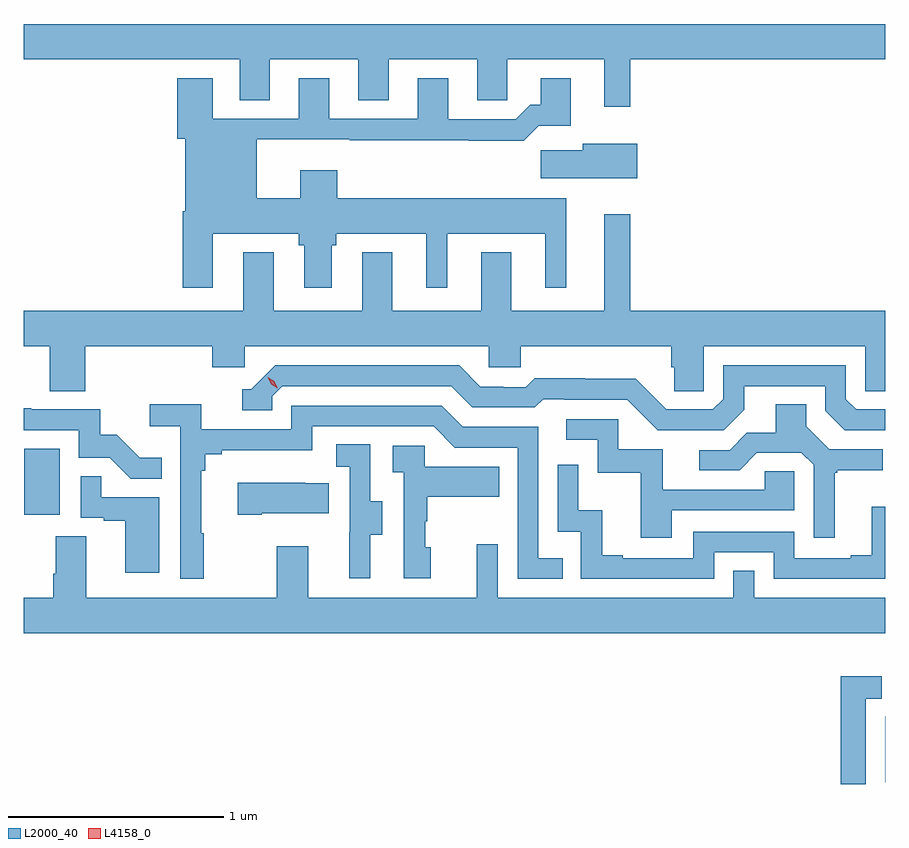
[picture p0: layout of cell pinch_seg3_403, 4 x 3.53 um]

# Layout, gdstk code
import gdstk
lib = gdstk.Library(unit=1e-6, precision=1e-09)
def R(c, l, rs):  # rectangles x0, y0, x1, y1
    for r in rs: c.add(gdstk.rectangle(r[:2], r[2:], *l))
def P(c, l, *ps):  # polygons
    for p in ps: c.add(gdstk.Polygon(p, *l))
L2000_40 = (2000, 40)
L4158_0 = (4158, 0)

pinch_seg3_403 = lib.new_cell('pinch_seg3_403')
R(pinch_seg3_403, L2000_40, [(912.794,704.22,912.795,704.527), (908.798,705.462,908.962,705.769)])
P(pinch_seg3_403, L2000_40, [(911.611,707.576),(912.795,707.576),(912.795,707.74),(908.795,707.74),(908.795,707.576),(909.797,707.576),(909.797,707.386),(909.937,707.386),(909.937,707.576),(910.349,707.576),(910.349,707.386),(910.489,707.386),(910.489,707.576),(910.901,707.576),(910.901,707.386),(911.04,707.386),(911.04,707.576),(911.489,707.576),(911.489,707.355),(911.611,707.355)],
  [(909.673,706.766),(910.072,706.766),(910.072,706.713),(910.097,706.713),(910.097,706.515),(910.225,706.515),(910.225,706.713),(910.245,706.713),(910.245,706.766),(910.664,706.766),(910.664,706.515),(910.762,706.515),(910.762,706.766),(911.216,706.766),(911.216,706.515),(911.314,706.515),(911.314,706.93),(910.25,706.93),(910.25,707.062),(910.079,707.062),(910.079,706.93),(909.877,706.93),(909.877,707.204),(910.309,707.204),(910.309,707.2),(910.861,707.2),(910.861,707.198),(911.117,707.198),(911.186,707.267),(911.335,707.267),(911.335,707.488),(911.195,707.488),(911.195,707.365),(911.146,707.365),(911.079,707.298),(910.765,707.298),(910.765,707.488),(910.625,707.488),(910.625,707.301),(910.213,707.301),(910.213,707.488),(910.073,707.488),(910.073,707.301),(909.673,707.301),(909.673,707.488),(909.509,707.488),(909.509,707.208),(909.545,707.208),(909.545,706.87),(909.533,706.87),(909.533,706.515),(909.673,706.515)],
  [(911.644,707.185),(911.39,707.185),(911.39,707.153),(911.196,707.153),(911.196,707.024),(911.644,707.024)],
  [(909.08,706.244),(909.671,706.244),(909.671,706.146),(909.822,706.146),(909.822,706.244),(910.953,706.244),(910.953,706.146),(911.103,706.146),(911.103,706.244),(911.801,706.244),(911.801,706.146),(911.815,706.146),(911.815,706.036),(911.952,706.036),(911.952,706.244),(912.702,706.244),(912.702,706.036),(912.795,706.036),(912.795,706.408),(911.611,706.408),(911.611,706.858),(911.489,706.858),(911.489,706.408),(911.059,706.408),(911.059,706.681),(910.919,706.681),(910.919,706.408),(910.507,706.408),(910.507,706.681),(910.367,706.681),(910.367,706.408),(909.955,706.408),(909.955,706.681),(909.815,706.681),(909.815,706.408),(908.795,706.408),(908.795,706.244),(908.915,706.244),(908.915,706.036),(909.08,706.036)],
  [(912.139,705.949),(912.139,706.059),(912.516,706.059),(912.516,705.945),(912.606,705.855),(912.795,705.855),(912.795,705.951),(912.66,705.951),(912.612,705.999),(912.612,706.155),(912.042,706.155),(912.042,705.999),(911.994,705.951),(911.778,705.951),(911.636,706.093),(911.4,706.093),(911.4,706.096),(911.167,706.096),(911.125,706.053),(911.022,706.053),(911.022,706.056),(910.915,706.056),(910.816,706.155),(909.963,706.155),(909.852,706.044),(909.809,706.044),(909.809,705.948),(909.948,705.948),(909.948,706.011),(909.996,706.059),(910.779,706.059),(910.878,705.96),(911.167,705.96),(911.206,705.999),(911.305,705.999),(911.305,705.996),(911.598,705.996),(911.739,705.855),(912.045,705.855)],
  [(909.631,705.377),(909.619,705.377),(909.619,705.665),(909.638,705.665),(909.638,705.742),(909.715,705.742),(909.715,705.761),(910.134,705.761),(910.134,705.873),(910.698,705.873),(910.797,705.774),(911.088,705.774),(911.088,705.165),(911.297,705.165),(911.297,705.261),(911.184,705.261),(911.184,705.87),(910.834,705.87),(910.735,705.969),(910.038,705.969),(910.038,705.858),(909.62,705.858),(909.62,705.974),(909.381,705.974),(909.381,705.872),(909.522,705.872),(909.522,705.165),(909.631,705.165)],
  [(912.559,705.657),(912.571,705.657),(912.571,705.668),(912.784,705.668),(912.784,705.765),(912.534,705.765),(912.427,705.872),(912.427,705.974),(912.287,705.974),(912.287,705.842),(912.152,705.842),(912.072,705.762),(911.931,705.762),(911.931,705.669),(912.118,705.669),(912.199,705.75),(912.405,705.75),(912.462,705.693),(912.462,705.354),(912.559,705.354)],
  [(909.437,705.727),(909.333,705.727),(909.226,705.834),(909.15,705.834),(909.15,705.951),(908.831,705.951),(908.831,705.956),(908.795,705.956),(908.795,705.855),(909.051,705.855),(909.051,705.726),(909.195,705.726),(909.293,705.628),(909.437,705.628)],
  [(911.803,705.483),(912.372,705.483),(912.372,705.663),(912.235,705.663),(912.235,705.579),(911.761,705.579),(911.761,705.765),(911.556,705.765),(911.556,705.906),(911.313,705.906),(911.313,705.81),(911.46,705.81),(911.46,705.657),(911.659,705.657),(911.659,705.354),(911.803,705.354)],
  [(910.405,705.37),(910.459,705.37),(910.459,705.525),(910.404,705.525),(910.404,705.788),(910.245,705.788),(910.245,705.685),(910.308,705.685),(910.308,705.381),(910.307,705.381),(910.307,705.168),(910.405,705.168)],
  [(910.684,705.312),(910.659,705.312),(910.659,705.431),(910.669,705.431),(910.669,705.545),(911.003,705.545),(911.003,705.685),(910.656,705.685),(910.656,705.783),(910.509,705.783),(910.509,705.659),(910.56,705.659),(910.56,705.168),(910.684,705.168)],
  [(912,705.288),(912.276,705.288),(912.276,705.165),(912.795,705.165),(912.795,705.499),(912.731,705.499),(912.731,705.274),(912.635,705.274),(912.635,705.261),(912.372,705.261),(912.372,705.384),(911.904,705.384),(911.904,705.261),(911.575,705.261),(911.575,705.274),(911.48,705.274),(911.48,705.482),(911.37,705.482),(911.37,705.694),(911.274,705.694),(911.274,705.384),(911.382,705.384),(911.382,705.165),(912,705.165)],
  [(909.424,705.543),(909.155,705.543),(909.155,705.641),(909.06,705.641),(909.06,705.447),(909.167,705.447),(909.167,705.435),(909.266,705.435),(909.266,705.192),(909.424,705.192)],
  [(909.901,705.47),(910.211,705.47),(910.211,705.607),(910.103,705.607),(910.103,705.61),(909.789,705.61),(909.789,705.463),(909.901,705.463)],
  [(912.795,705.076),(912.186,705.076),(912.186,705.203),(912.09,705.203),(912.09,705.076),(910.995,705.076),(910.995,705.325),(910.898,705.325),(910.898,705.076),(910.117,705.076),(910.117,705.316),(909.97,705.316),(909.97,705.076),(909.085,705.076),(909.085,705.362),(908.945,705.362),(908.945,705.188),(908.933,705.188),(908.933,705.076),(908.795,705.076),(908.795,704.912),(912.795,704.912)],
  [(912.705,704.607),(912.778,704.607),(912.778,704.713),(912.589,704.713),(912.589,704.212),(912.705,704.212)])
P(pinch_seg3_403, L4158_0, [(909.974,706.048),(909.944,706.067),(909.928,706.1),(909.928,706.1),(909.928,706.1),(909.959,706.081),(909.975,706.048),(909.975,706.048)])

lib.write_gds('pinch_seg3_403.gds')
